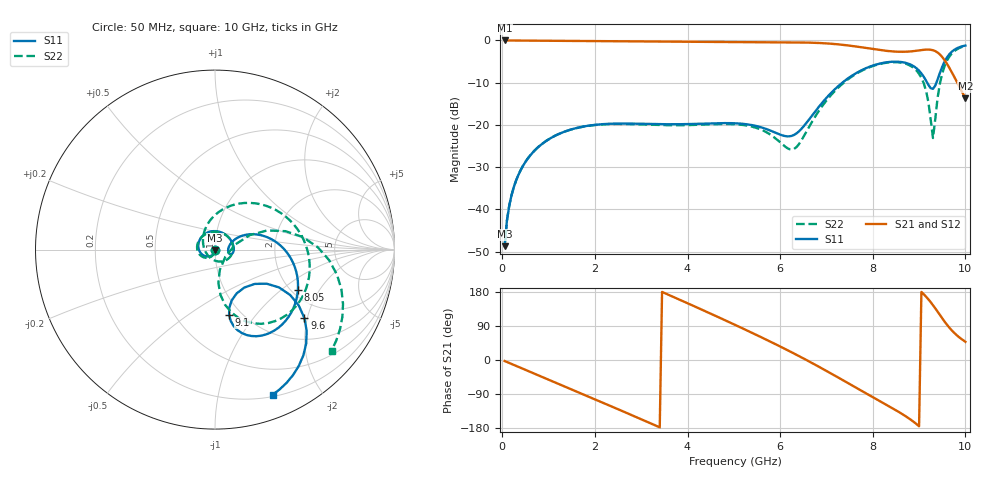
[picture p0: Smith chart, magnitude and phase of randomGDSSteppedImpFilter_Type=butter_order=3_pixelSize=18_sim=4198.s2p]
! freq	dB(S11)	phase(S11)	dB(S12)	phase(S12)
!  dB(S21)	phase(S21)	dB(S22)	phase(S22)
!S-par simulation data
#  GHz  S  DB  R 50
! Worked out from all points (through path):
!   200 points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, 50 MHz to 10 GHz, reference 50 ohm
!   highest |S21| = 0.00 dB at 50 MHz (marker M1); lowest = -13.7 dB at 10 GHz (marker M2)
!   group delay of S21, straight-line fit = 172 ps
!   lowest |S11| = -48.7 dB at 50 MHz (marker M3), VSWR 1.01, Z = 50 - j0.366 ohm
!   |S11| at or under -10 dB: start of sweep to 7.343 GHz; 9.174 GHz to 9.374 GHz (199.4 MHz wide, 2.15 % of centre)
!   |S22| runs from -48.7 to -1.3 dB; largest |S21 - S12| = 0
!   S11 on the Smith chart (normalised r, x): 50 MHz: 1.00, -0.01; 8.05 GHz: 2.16, -1.33; 9.1 GHz: 0.88, -0.74; 9.6 GHz: 1.53, -1.92; 10 GHz: 0.22, -1.45
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0.05  -48.72 -91.4  -0.00 -2.7  -0.00 -2.7  -48.70 -90.9
0.2  -36.64 -100.6  -0.02 -10.5  -0.02 -10.5  -36.63 -98.4
0.5  -28.77 -118.4  -0.04 -26.0  -0.04 -26.0  -28.74 -113.0
1.15  -22.51 -157.0  -0.09 -59.7  -0.09 -59.7  -22.51 -144.2
1.75  -20.39 167.2  -0.15 -90.8  -0.15 -90.8  -20.42 -171.6
2.5  -19.69 121.6  -0.20 -129.9  -0.20 -129.9  -19.78 155.1
3.4  -19.83 68.3  -0.27 -177.7  -0.27 -177.7  -20.03 112.7
4.15  -19.77 30.9  -0.33 141.6  -0.33 141.6  -20.00 69.5
5.05  -19.63 -2.8  -0.39 91.4  -0.39 91.4  -19.87 6.4
5.65  -20.78 -16.2  -0.42 56.7  -0.42 56.7  -21.44 -44.4
6.25  -22.60 3.9  -0.45 20.2  -0.45 20.2  -25.84 -141.8
6.7  -17.63 27.5  -0.54 -8.7  -0.54 -8.7  -19.04 123.5
7.4  -9.51 8.3  -1.10 -56.4  -1.10 -56.4  -9.76 53.2
8.05  -5.78 -26.1  -2.11 -101.3  -2.11 -101.3  -5.88 2.2
8.35  -5.10 -42.6  -2.53 -121.9  -2.53 -121.9  -5.20 -19.8
8.8  -5.64 -67.2  -2.61 -155.8  -2.61 -155.8  -5.92 -53.9
9.1  -8.59 -77.8  -2.22 173.6  -2.22 173.6  -10.12 -79.7
9.2  -10.51 -71.9  -2.16 160.2  -2.16 160.2  -14.54 -84.2
9.3  -11.46 -52.2  -2.32 144.7  -2.32 144.7  -23.13 -33.7
9.45  -7.66 -30.6  -3.33 118.7  -3.33 118.7  -10.18 20.2
9.6  -4.06 -37.4  -5.49 93.5  -5.49 93.5  -4.83 1.3
10  -1.21 -68.3  -13.69 48.1  -13.69 48.1  -1.32 -40.9
